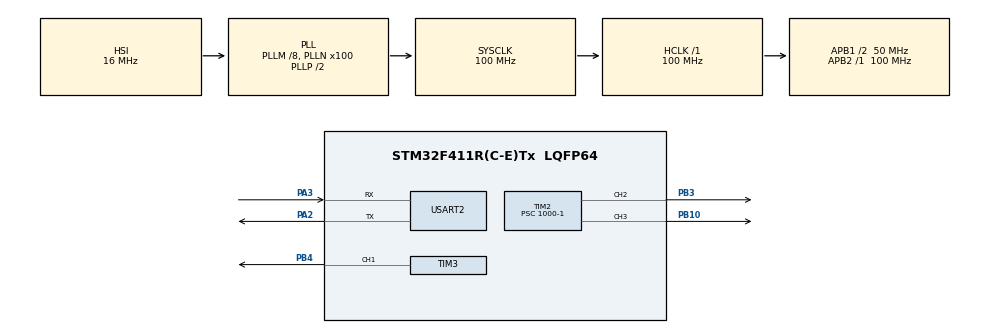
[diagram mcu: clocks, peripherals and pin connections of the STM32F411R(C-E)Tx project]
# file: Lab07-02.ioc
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Mcu.Family=STM32F4
Mcu.Name=STM32F411R(C-E)Tx
Mcu.Package=LQFP64
NVIC.PriorityGroup=NVIC_PRIORITYGROUP_4
PA2.GPIO_Speed=GPIO_SPEED_FREQ_HIGH
PA2.Mode=Asynchronous
PA2.Signal=USART2_TX
PA3.GPIO_Speed=GPIO_SPEED_FREQ_HIGH
PA3.Mode=Asynchronous
PA3.Signal=USART2_RX
PB10.GPIO_Speed=GPIO_SPEED_FREQ_HIGH
PB10.Signal=S_TIM2_CH3
PB3.GPIO_Speed=GPIO_SPEED_FREQ_HIGH
PB3.Signal=S_TIM2_CH2
PB4.GPIO_Speed=GPIO_SPEED_FREQ_HIGH
PB4.Signal=S_TIM3_CH1
ProjectManager.HeapSize=0x200
ProjectManager.StackSize=0x400
ProjectManager.TargetToolchain=MDK-ARM V5
RCC.48MHZClocksFreq_Value=50000000
RCC.AHBFreq_Value=100000000
RCC.APB1CLKDivider=RCC_HCLK_DIV2
RCC.APB1Freq_Value=50000000
RCC.APB1TimFreq_Value=100000000
RCC.APB2Freq_Value=100000000
RCC.APB2TimFreq_Value=100000000
RCC.CortexFreq_Value=100000000
RCC.HCLKFreq_Value=100000000
RCC.HSE_VALUE=25000000
RCC.HSI_VALUE=16000000
RCC.LSE_VALUE=32768
RCC.PLLM=8
RCC.PLLN=100
RCC.SYSCLKFreq_VALUE=100000000
RCC.SYSCLKSource=RCC_SYSCLKSOURCE_PLLCLK
RCC.VCOOutputFreq_Value=200000000
SH.S_TIM2_CH2.0=TIM2_CH2,PWM Generation2 CH2
SH.S_TIM2_CH3.0=TIM2_CH3,PWM Generation3 CH3
SH.S_TIM3_CH1.0=TIM3_CH1,PWM Generation1 CH1
TIM2.Channel-PWM\ Generation2\ CH2=TIM_CHANNEL_2
TIM2.Channel-PWM\ Generation3\ CH3=TIM_CHANNEL_3
TIM2.Period=10000-1
TIM2.Prescaler=1000-1
TIM2.Pulse-PWM\ Generation2\ CH2=(10000-1)/4
TIM2.Pulse-PWM\ Generation3\ CH3=(10000-1)/4
TIM3.Channel-PWM\ Generation1\ CH1=TIM_CHANNEL_1
TIM3.Period=10000-1
TIM3.Prescaler=1000-1
TIM3.Pulse-PWM\ Generation1\ CH1=(10000-1)/4
USART2.VirtualMode=VM_ASYNC
VP_TIM2_VS_ClockSourceINT.Mode=Internal
VP_TIM3_VS_ClockSourceINT.Mode=Internal
board=Lab07-02

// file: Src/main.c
/**
  ******************************************************************************
  * @file           : main.c
  * @brief          : Main program body
  ******************************************************************************
  ** This notice applies to any and all portions of this file
  * that are not between comment pairs USER CODE BEGIN and
  * USER CODE END. Other portions of this file, whether
  * inserted by the user or by software development tools
  * are owned by their respective copyright owners.
  *
  * COPYRIGHT(c) 2018 STMicroelectronics
  *
  * Redistribution and use in source and binary forms, with or without modification,
  * are permitted provided that the following conditions are met:
  *   1. Redistributions of source code must retain the above copyright notice,
  *      this list of conditions and the following disclaimer.
  *   2. Redistributions in binary form must reproduce the above copyright notice,
  *      this list of conditions and the following disclaimer in the documentation
  *      and/or other materials provided with the distribution.
  *   3. Neither the name of STMicroelectronics nor the names of its contributors
  *      may be used to endorse or promote products derived from this software
  *      without specific prior written permission.
  *
  * THIS SOFTWARE IS PROVIDED BY THE COPYRIGHT HOLDERS AND CONTRIBUTORS "AS IS"
  * AND ANY EXPRESS OR IMPLIED WARRANTIES, INCLUDING, BUT NOT LIMITED TO, THE
  * IMPLIED WARRANTIES OF MERCHANTABILITY AND FITNESS FOR A PARTICULAR PURPOSE ARE
  * DISCLAIMED. IN NO EVENT SHALL THE COPYRIGHT HOLDER OR CONTRIBUTORS BE LIABLE
  * FOR ANY DIRECT, INDIRECT, INCIDENTAL, SPECIAL, EXEMPLARY, OR CONSEQUENTIAL
  * DAMAGES (INCLUDING, BUT NOT LIMITED TO, PROCUREMENT OF SUBSTITUTE GOODS OR
  * SERVICES; LOSS OF USE, DATA, OR PROFITS; OR BUSINESS INTERRUPTION) HOWEVER
  * CAUSED AND ON ANY THEORY OF LIABILITY, WHETHER IN CONTRACT, STRICT LIABILITY,
  * OR TORT (INCLUDING NEGLIGENCE OR OTHERWISE) ARISING IN ANY WAY OUT OF THE USE
  * OF THIS SOFTWARE, EVEN IF ADVISED OF THE POSSIBILITY OF SUCH DAMAGE.
  *
  ******************************************************************************
  */
#include "main.h"
#include "stm32f4xx_hal.h"

TIM_HandleTypeDef htim2;
TIM_HandleTypeDef htim3;

UART_HandleTypeDef huart2;

/* USER CODE BEGIN PV */
/* Private variables ---------------------------------------------------------*/
uint8_t pwm=0;
float dutyCycle = 0.5;
/* USER CODE END PV */

void SystemClock_Config(void);
static void MX_GPIO_Init(void);
static void MX_TIM2_Init(void);
static void MX_USART2_UART_Init(void);
static void MX_TIM3_Init(void);
void HAL_TIM_MspPostInit(TIM_HandleTypeDef *htim);

/* USER CODE BEGIN PFP */
/* Private function prototypes -----------------------------------------------*/

/* USER CODE END PFP */

int main(void)
{

  /* MCU Configuration----------------------------------------------------------*/

  /* Reset of all peripherals, Initializes the Flash interface and the Systick. */
  HAL_Init();

  /* Configure the system clock */
  SystemClock_Config();

  /* Initialize all configured peripherals */
  MX_GPIO_Init();
  MX_TIM2_Init();
  MX_USART2_UART_Init();
  MX_TIM3_Init();

  /* Infinite loop */
  /* USER CODE BEGIN WHILE */
	uint8_t cmd, r, g, b = 0;

  while (1)
  {
		HAL_UART_Receive(&huart2, &cmd, 1, 1000);

		if (cmd == 0x72)
		{
			r++;

			if (r > 5)
			{
				r = 0;
			}
		}
		else if (cmd == 0x67)
		{
			g++;

			if (g > 5)
			{
				g = 0;
			}
		}
		else if (cmd == 0x62)
		{
			b++;

			if (b > 5)
			{
				b = 0;
			}
		}

		HAL_TIM_PWM_Start(&htim2, TIM_CHANNEL_3);
		HAL_TIM_PWM_Start(&htim2, TIM_CHANNEL_2);
		HAL_TIM_PWM_Start(&htim3, TIM_CHANNEL_1);

		HAL_Delay(1000);

		HAL_TIM_PWM_Stop(&htim2, TIM_CHANNEL_3);
		HAL_TIM_PWM_Stop(&htim2, TIM_CHANNEL_2);
		HAL_TIM_PWM_Stop(&htim3, TIM_CHANNEL_1);

//		htim2.Instance -> CCR3 = (10000-1) * dutyCycle;
//		HAL_TIM_PWM_Start(&htim2, TIM_CHANNEL_3);
//		//pwm = (GPIOB->IDR&0x400U)>>10;
//		HAL_Delay(1000);
//		HAL_TIM_PWM_Stop(&htim2, TIM_CHANNEL_3);
//		pwm = (GPIOB->IDR&0x400U)>>10;

  /* USER CODE END WHILE */

  }

}

void SystemClock_Config(void)
{

  RCC_OscInitTypeDef RCC_OscInitStruct;
  RCC_ClkInitTypeDef RCC_ClkInitStruct;

    /**Configure the main internal regulator output voltage
    */
  __HAL_RCC_PWR_CLK_ENABLE();

  __HAL_PWR_VOLTAGESCALING_CONFIG(PWR_REGULATOR_VOLTAGE_SCALE1);

    /**Initializes the CPU, AHB and APB busses clocks
    */
  RCC_OscInitStruct.OscillatorType = RCC_OSCILLATORTYPE_HSI;
  RCC_OscInitStruct.HSIState = RCC_HSI_ON;
  RCC_OscInitStruct.HSICalibrationValue = 16;
  RCC_OscInitStruct.PLL.PLLState = RCC_PLL_ON;
  RCC_OscInitStruct.PLL.PLLSource = RCC_PLLSOURCE_HSI;
  RCC_OscInitStruct.PLL.PLLM = 8;
  RCC_OscInitStruct.PLL.PLLN = 100;
  RCC_OscInitStruct.PLL.PLLP = RCC_PLLP_DIV2;
  RCC_OscInitStruct.PLL.PLLQ = 4;
  if (HAL_RCC_OscConfig(&RCC_OscInitStruct) != HAL_OK)
  {
    _Error_Handler(__FILE__, __LINE__);
  }

    /**Initializes the CPU, AHB and APB busses clocks
    */
  RCC_ClkInitStruct.ClockType = RCC_CLOCKTYPE_HCLK|RCC_CLOCKTYPE_SYSCLK
                              |RCC_CLOCKTYPE_PCLK1|RCC_CLOCKTYPE_PCLK2;
  RCC_ClkInitStruct.SYSCLKSource = RCC_SYSCLKSOURCE_PLLCLK;
  RCC_ClkInitStruct.AHBCLKDivider = RCC_SYSCLK_DIV1;
  RCC_ClkInitStruct.APB1CLKDivider = RCC_HCLK_DIV2;
  RCC_ClkInitStruct.APB2CLKDivider = RCC_HCLK_DIV1;

  if (HAL_RCC_ClockConfig(&RCC_ClkInitStruct, FLASH_LATENCY_3) != HAL_OK)
  {
    _Error_Handler(__FILE__, __LINE__);
  }

    /**Configure the Systick interrupt time
    */
  HAL_SYSTICK_Config(HAL_RCC_GetHCLKFreq()/1000);

    /**Configure the Systick
    */
  HAL_SYSTICK_CLKSourceConfig(SYSTICK_CLKSOURCE_HCLK);

  /* SysTick_IRQn interrupt configuration */
  HAL_NVIC_SetPriority(SysTick_IRQn, 0, 0);
}

/* TIM2 init function */
static void MX_TIM2_Init(void)
{

  TIM_ClockConfigTypeDef sClockSourceConfig;
  TIM_MasterConfigTypeDef sMasterConfig;
  TIM_OC_InitTypeDef sConfigOC;

  htim2.Instance = TIM2;
  htim2.Init.Prescaler = 1000-1;
  htim2.Init.CounterMode = TIM_COUNTERMODE_UP;
  htim2.Init.Period = 10000-1;
  htim2.Init.ClockDivision = TIM_CLOCKDIVISION_DIV1;
  if (HAL_TIM_Base_Init(&htim2) != HAL_OK)
  {
    _Error_Handler(__FILE__, __LINE__);
  }

  sClockSourceConfig.ClockSource = TIM_CLOCKSOURCE_INTERNAL;
  if (HAL_TIM_ConfigClockSource(&htim2, &sClockSourceConfig) != HAL_OK)
  {
    _Error_Handler(__FILE__, __LINE__);
  }

  if (HAL_TIM_PWM_Init(&htim2) != HAL_OK)
  {
    _Error_Handler(__FILE__, __LINE__);
  }

  sMasterConfig.MasterOutputTrigger = TIM_TRGO_RESET;
  sMasterConfig.MasterSlaveMode = TIM_MASTERSLAVEMODE_DISABLE;
  if (HAL_TIMEx_MasterConfigSynchronization(&htim2, &sMasterConfig) != HAL_OK)
  {
    _Error_Handler(__FILE__, __LINE__);
  }

  sConfigOC.OCMode = TIM_OCMODE_PWM1;
  sConfigOC.Pulse = (10000-1)/4;
  sConfigOC.OCPolarity = TIM_OCPOLARITY_HIGH;
  sConfigOC.OCFastMode = TIM_OCFAST_DISABLE;
  if (HAL_TIM_PWM_ConfigChannel(&htim2, &sConfigOC, TIM_CHANNEL_2) != HAL_OK)
  {
    _Error_Handler(__FILE__, __LINE__);
  }

  if (HAL_TIM_PWM_ConfigChannel(&htim2, &sConfigOC, TIM_CHANNEL_3) != HAL_OK)
  {
    _Error_Handler(__FILE__, __LINE__);
  }

  HAL_TIM_MspPostInit(&htim2);

}

/* TIM3 init function */
static void MX_TIM3_Init(void)
{

  TIM_ClockConfigTypeDef sClockSourceConfig;
  TIM_MasterConfigTypeDef sMasterConfig;
  TIM_OC_InitTypeDef sConfigOC;

  htim3.Instance = TIM3;
  htim3.Init.Prescaler = 1000-1;
  htim3.Init.CounterMode = TIM_COUNTERMODE_UP;
  htim3.Init.Period = 10000-1;
  htim3.Init.ClockDivision = TIM_CLOCKDIVISION_DIV1;
  if (HAL_TIM_Base_Init(&htim3) != HAL_OK)
  {
    _Error_Handler(__FILE__, __LINE__);
  }

  sClockSourceConfig.ClockSource = TIM_CLOCKSOURCE_INTERNAL;
  if (HAL_TIM_ConfigClockSource(&htim3, &sClockSourceConfig) != HAL_OK)
  {
    _Error_Handler(__FILE__, __LINE__);
  }

  if (HAL_TIM_PWM_Init(&htim3) != HAL_OK)
  {
    _Error_Handler(__FILE__, __LINE__);
  }

  sMasterConfig.MasterOutputTrigger = TIM_TRGO_RESET;
  sMasterConfig.MasterSlaveMode = TIM_MASTERSLAVEMODE_DISABLE;
  if (HAL_TIMEx_MasterConfigSynchronization(&htim3, &sMasterConfig) != HAL_OK)
  {
    _Error_Handler(__FILE__, __LINE__);
  }

  sConfigOC.OCMode = TIM_OCMODE_PWM1;
  sConfigOC.Pulse = (10000-1)/4;
  sConfigOC.OCPolarity = TIM_OCPOLARITY_HIGH;
  sConfigOC.OCFastMode = TIM_OCFAST_DISABLE;
  if (HAL_TIM_PWM_ConfigChannel(&htim3, &sConfigOC, TIM_CHANNEL_1) != HAL_OK)
  {
    _Error_Handler(__FILE__, __LINE__);
  }

  HAL_TIM_MspPostInit(&htim3);

}

/* USART2 init function */
static void MX_USART2_UART_Init(void)
{

  huart2.Instance = USART2;
  huart2.Init.BaudRate = 115200;
  huart2.Init.WordLength = UART_WORDLENGTH_8B;
  huart2.Init.StopBits = UART_STOPBITS_1;
  huart2.Init.Parity = UART_PARITY_NONE;
  huart2.Init.Mode = UART_MODE_TX_RX;
  huart2.Init.HwFlowCtl = UART_HWCONTROL_NONE;
  huart2.Init.OverSampling = UART_OVERSAMPLING_16;
  if (HAL_UART_Init(&huart2) != HAL_OK)
  {
    _Error_Handler(__FILE__, __LINE__);
  }

}

/** Pinout Configuration
*/
static void MX_GPIO_Init(void)
{

  /* GPIO Ports Clock Enable */
  __HAL_RCC_GPIOA_CLK_ENABLE();
  __HAL_RCC_GPIOB_CLK_ENABLE();

}

void _Error_Handler(char *file, int line)
{
  while(1)
  {
  }
}

/************************ (C) COPYRIGHT STMicroelectronics *****END OF FILE****/
